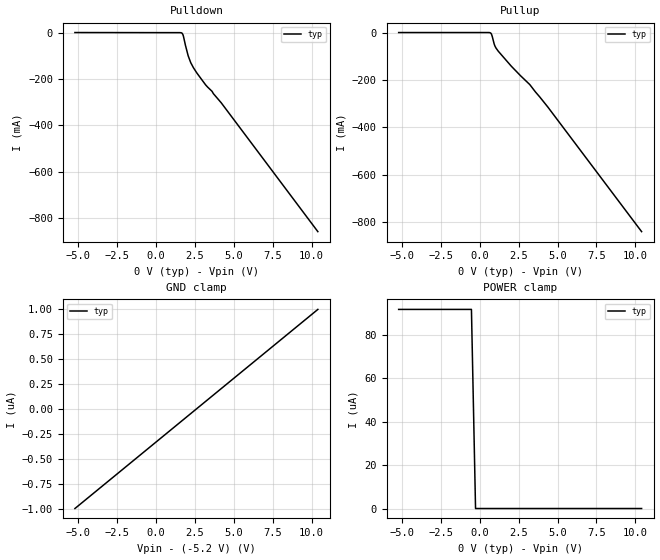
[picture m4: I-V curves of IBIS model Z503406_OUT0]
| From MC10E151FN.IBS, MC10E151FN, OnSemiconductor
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| (C) COPYRIGHT 1993-2000
| MENTOR GRAPHICS CORPORATION
| ICX STANDARD LIBRARY, ICX PROJECT MODELING,
| ICX CUSTOM MODELING, ICX VENDOR MODEL
| ALL RIGHTS RESERVED.
| THE FOLLOWING ARE TRADEMARKS OR SERVICE MARKS OF
| MENTOR GRAPHICS CORPORATION:ICX (R), ICX STANDARD
| LIBRARY(R), ICX PROJECT MODELING(R), ICX CUSTOM
| MODELING(R), qualityIBIS(TM), MODELVIEWER(TM),
| AND MODELEDITOR(TM)
| ALL COPIES OF SOFTWARE, INCLUDING BUT NOT LIMITED TO
| ANY MODIFICATIONS, ENHANCEMENTS OR DERIVATIVE WORKS,
| MUST CONTAIN ALL MENTOR GRAPHICS CORPORATION'S
| NOTICES AND LEGENDS, INCLUDING THOSE EMBEDDED IN
| SOFTWARE AND THOSE AFFIXED TO SOFTWARE MEDIUM
| AND CONTAINER, AS RECEIVED FROM MENTOR GRAPHICS
| CORPORATION.
| Model Application Version 1.89 2/18/99.
[Model] Z503406_OUT0
Model_type Output_ECL
Vref=-2.000V
Rref=50.00ohms
Cref=0.000F
Vmeas=-1.305V
C_comp 8.000pF NA NA
| variable typ   min   max
[Voltage Range] -5.200V NA NA
[POWER Clamp Reference] 0.000V NA NA
[Pullup Reference] 0.000V NA NA
[Pulldown Reference] 0.000V NA NA
[GND Clamp Reference] -5.200V NA NA
[GND Clamp]
-5.2V     -1uA       NA         NA
10.4V     1uA        NA         NA
[Pulldown]
-5.2V     455.2uA    NA         NA
1.68V     -2.346mA   NA         NA
1.768V    -15.35mA   NA         NA
1.899V    -55.06mA   NA         NA
2.07V     -99.32mA   NA         NA
2.237V    -129.5mA   NA         NA
2.628V    -173.8mA   NA         NA
3.191V    -225.1mA   NA         NA
3.604V    -252.9mA   NA         NA
3.69V     -262.9mA   NA         NA
4.188V    -301.9mA   NA         NA
10.4V     -858mA     NA         NA
[Pullup]
-5.2V     3.876uA    NA         NA
504.2mV   3.876uA    NA         NA
725.5mV   -3.111mA   NA         NA
808.7mV   -16.46mA   NA         NA
932.7mV   -48.3mA    NA         NA
981.8mV   -57.11mA   NA         NA
1.196V    -78.82mA   NA         NA
2.026V    -141.6mA   NA         NA
3.222V    -219.9mA   NA         NA
4.375V    -314.2mA   NA         NA
10.4V     -840.5mA   NA         NA
[POWER Clamp]
-5.2V     91.7uA     NA         NA
-527.3mV  91.7uA     NA         NA
-263.7mV  0A         NA         NA
10.4V     0A         NA         NA
[Ramp]
| variable typ min max
dV/dt_r 551.7m/312.8p NA NA
dV/dt_f 551.7m/313.9p NA NA
R_load = 500.0Ohms
